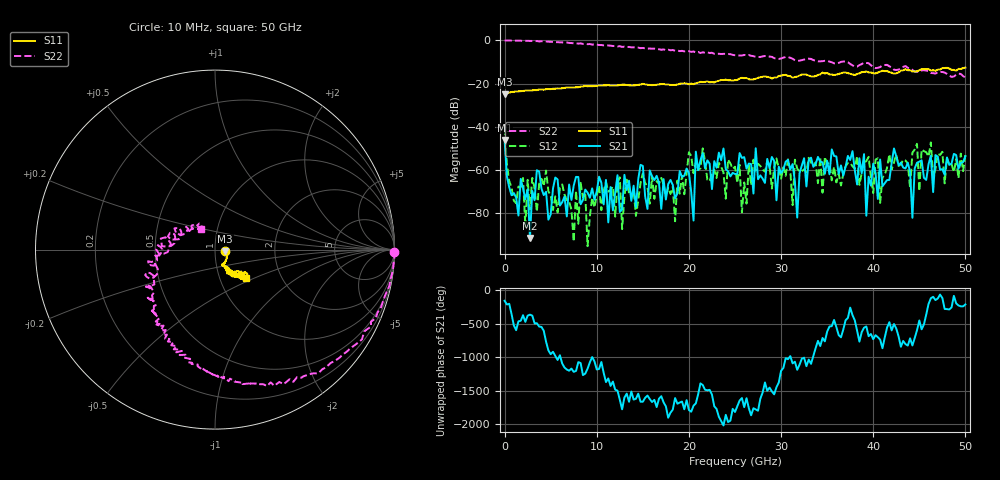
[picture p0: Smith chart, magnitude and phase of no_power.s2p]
!Agilent Technologies,E8364C,MY43040239,A.09.42.22
!Agilent E8364C: A.09.42.22
!Date: Sunday, September 14, 2025 22:23:11
!Correction: S11(Full 2 Port(1,2))
!S21(Full 2 Port(1,2))
!S12(Full 2 Port(1,2))
!S22(Full 2 Port(1,2))
!S2P File: Measurements: S11, S21, S12, S22:
# Hz S  RI  R 50
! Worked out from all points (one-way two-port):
!   201 points, 10 MHz to 50 GHz, reference 50 ohm
!   highest |S21| = -46.08 dB at 10 MHz (marker M1); lowest = -91.6 dB at 2.759 GHz (marker M2)
!   lowest |S11| = -25.0 dB at 10 MHz (marker M3), VSWR 1.12, Z = 55.9 - j0.977 ohm
!   |S11| at or under -10 dB: start of sweep to end of sweep
!   |S22| runs from -17.2 to 0.0 dB; largest |S21 - S12| = 0.014
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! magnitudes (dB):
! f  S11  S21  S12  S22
! 10 MHz  -25.0  -46.1  -40.3  0.0
! 1.01 GHz  -23.8  -70.7  -74.3  0.0
! 2.759 GHz  -23.2  -91.6  -78.3  -0.3
! 3.509 GHz  -23.0  -60.2  -79.4  -0.3
! 8.508 GHz  -21.3  -73.9  -72.7  -1.6
! 16.76 GHz  -20.3  -65.9  -66.5  -4.1
! 25 GHz  -18.4  -61.9  -58.5  -6.9
! 25.75 GHz  -17.3  -54.4  -79.7  -7.0
! 27 GHz  -18.0  -71.0  -55.3  -7.3
! 27.25 GHz  -17.8  -50.0  -60.4  -7.6
! 29.5 GHz  -17.2  -74.1  -54.7  -8.5
! 31.25 GHz  -17.3  -57.3  -76.3  -8.5
! 31.75 GHz  -16.8  -82.1  -59.4  -9.5
! 33.5 GHz  -16.7  -58.6  -58.0  -9.1
! 39 GHz  -14.6  -52.7  -56.4  -10.2
! 39.25 GHz  -14.4  -81.2  -56.0  -10.4
! 40.75 GHz  -14.5  -55.2  -75.3  -12.3
! 41.75 GHz  -14.7  -64.6  -52.7  -12.0
! 44.25 GHz  -14.4  -82.2  -52.0  -13.6
! 44.75 GHz  -14.3  -56.7  -47.9  -14.5
! 45 GHz  -13.8  -56.2  -69.8  -14.5
! 50 GHz  -12.6  -53.7  -53.2  -17.2
